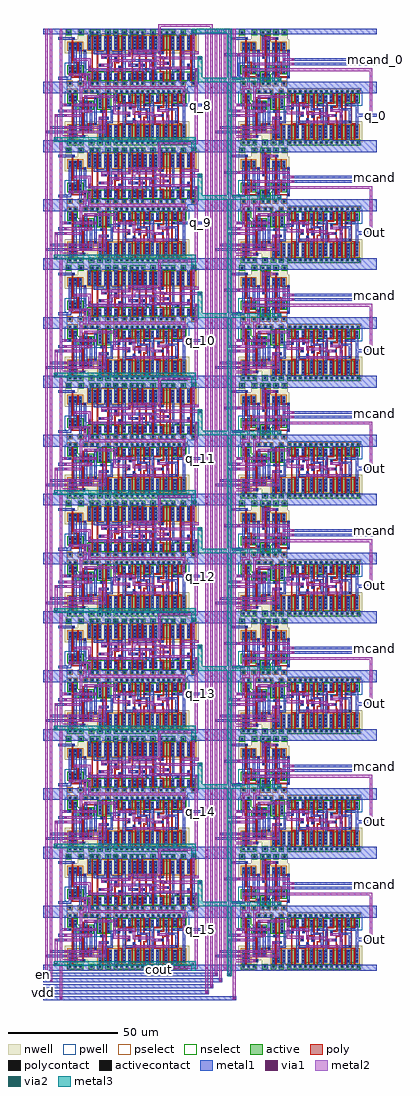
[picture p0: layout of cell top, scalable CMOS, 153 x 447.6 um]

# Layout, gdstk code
import gdstk
lib = gdstk.Library(unit=1e-6, precision=1e-09)
def R(c, l, rs):  # rectangles x0, y0, x1, y1
    for r in rs: c.add(gdstk.rectangle(r[:2], r[2:], *l))
def A(c, l, x, y, w, h, nx, ny, dx, dy):  # array of equal rectangles
    R(c, l, [(x+i*dx, y+j*dy, x+i*dx+w, y+j*dy+h) for i in range(nx) for j in range(ny)])
pwell = (41, 0)
nwell = (42, 0)
active = (43, 0)
pselect = (44, 0)
nselect = (45, 0)
poly = (46, 0)
polycontact = (47, 0)
activecontact = (48, 0)
metal1 = (49, 0)
via1 = (50, 0)
metal2 = (51, 0)
via2 = (61, 0)
metal3 = (62, 0)

c_______fa_magic_fa = lib.new_cell('______fa_magic_fa')
R(c_______fa_magic_fa, pwell, [(2.1,-0.6,51.6,0.9), (0,0.9,52.5,7.5)])
R(c_______fa_magic_fa, nwell, [(0,14.7,52.5,24.3), (2.1,24.3,51.6,25.8)])
A(c_______fa_magic_fa, active, 21.3, 0.3, 1.2, 1.2, 3, 2, 2.4, 23.4)
A(c_______fa_magic_fa, active, 34.5, 0.3, 1.2, 1.2, 3, 2, 2.7, 23.4)
R(c_______fa_magic_fa, active, [(3,0.3,4.2,1.5), (5.4,0.3,6.6,1.5), (10.2,0.3,11.4,1.5), (13.8,0.3,15,1.5), (17.7,0.3,18.9,1.5), (30.9,0.3,32.1,1.5), (44.7,0.3,45.9,1.5), (49.5,0.3,50.7,1.5), (1.8,2.7,7.8,5.7), (9,2.7,12.6,5.7), (13.8,2.7,18.9,5.7), (20.1,2.7,28.5,5.7), (29.7,2.7,33.3,5.7), (34.5,2.7,41.1,5.7), (42.3,2.7,45.9,5.7), (47.1,2.7,50.7,5.7), (1.8,16.5,7.8,22.5), (9,16.5,12.6,22.5), (13.8,16.5,18.9,22.5), (20.1,16.5,28.5,22.5), (29.7,16.5,33.3,22.5), (34.5,16.5,41.1,22.5), (42.3,16.5,45.9,22.5), (47.1,16.5,50.7,22.5), (3,23.7,4.2,24.9), (5.4,23.7,6.6,24.9), (10.2,23.7,11.4,24.9), (13.8,23.7,15,24.9), (17.7,23.7,18.9,24.9), (30.9,23.7,32.1,24.9), (44.7,23.7,45.9,24.9), (49.5,23.7,50.7,24.9)])
R(c_______fa_magic_fa, pselect, [(2.4,-0.3,7.2,2.1), (9.6,-0.3,12,2.1), (13.2,-0.3,15.6,2.1), (17.1,-0.3,19.5,2.1), (20.7,-0.3,27.9,2.1), (30.3,-0.3,32.7,2.1), (33.9,-0.3,41.7,2.1), (44.1,-0.3,46.5,2.1), (48.9,-0.3,51.3,2.1), (1.2,15.9,51.3,23.1)])
R(c_______fa_magic_fa, nselect, [(1.2,2.1,51.3,6.3), (2.4,23.1,7.2,25.5), (9.6,23.1,12,25.5), (13.2,23.1,15.6,25.5), (17.1,23.1,19.5,25.5), (20.7,23.1,27.9,25.5), (30.3,23.1,32.7,25.5), (33.9,23.1,41.7,25.5), (44.1,23.1,46.5,25.5), (48.9,23.1,51.3,25.5)])
R(c_______fa_magic_fa, poly, [(3.3,2.1,3.9,7.8), (5.7,2.1,6.3,8.7), (10.5,2.1,11.1,12.3), (15.3,2.1,15.9,6), (16.8,2.1,17.4,7.8), (21.6,2.1,22.2,14.4), (24,2.1,24.6,6.6), (26.4,2.1,27,6), (31.2,2.1,31.8,10.8), (36,2.1,36.6,6), (37.5,2.1,38.1,7.5), (39,2.1,39.6,9.6), (43.8,2.1,44.4,6.6), (48.6,2.1,49.2,8.7), (13.8,6,15.9,6.6), (26.4,6,28.5,6.6), (34.5,6,36.6,6.6), (13.8,6.6,14.4,10.2), (24,6.6,25.5,7.2), (27.9,6.6,28.5,8.7), (34.5,6.6,35.1,14.4), (42.3,6.6,44.4,7.8), (24.9,7.2,25.5,8.7), (36,7.5,38.1,8.1), (1.8,7.8,3.9,9), (15.6,7.8,17.4,9), (43.8,7.8,44.4,23.1), (36,8.1,36.6,12), (5.7,8.7,7.8,9.9), (23.4,8.7,25.5,9.9), (26.7,8.7,28.5,9.9), (47.1,8.7,49.2,9.9), (3.3,9,3.9,23.1), (16.8,9,17.4,23.1), (37.8,9.6,39.6,10.8), (5.7,9.9,6.3,23.1), (24.9,9.9,25.5,13.8), (27.9,9.9,28.5,15.6), (48.6,9.9,49.2,23.1), (13.8,10.2,15.9,10.8), (15.3,10.8,15.9,12), (29.7,10.8,31.8,12), (39,10.8,39.6,23.1), (13.8,12,15.9,13.2), (31.2,12,31.8,23.1), (36,12,38.1,13.2), (9,12.3,11.1,13.5), (15.3,13.2,15.9,23.1), (37.5,13.2,38.1,23.1), (10.5,13.5,11.1,23.1), (24,13.8,25.5,14.4), (20.1,14.4,22.2,15.6), (24,14.4,24.6,23.1), (34.5,14.4,36.3,15.6), (21.6,15.6,22.2,23.1), (26.4,15.6,28.5,16.2), (34.5,15.6,36.6,16.2), (26.4,16.2,27,23.1), (36,16.2,36.6,23.1)])
R(c_______fa_magic_fa, polycontact, [(42.6,6.9,43.2,7.5), (2.1,8.1,2.7,8.7), (15.9,8.1,16.5,8.7), (6.9,9,7.5,9.6), (23.7,9,24.3,9.6), (27,9,27.6,9.6), (47.4,9,48,9.6), (38.1,9.9,38.7,10.5), (30,11.1,30.6,11.7), (14.1,12.3,14.7,12.9), (36.6,12.3,37.2,12.9), (9.3,12.6,9.9,13.2), (20.4,14.7,21,15.3), (35.4,14.7,36,15.3)])
A(c_______fa_magic_fa, activecontact, 21.6, 0.6, 0.6, 0.6, 3, 2, 2.4, 23.4)
A(c_______fa_magic_fa, activecontact, 34.8, 0.6, 0.6, 0.6, 3, 2, 2.7, 23.4)
A(c_______fa_magic_fa, activecontact, 2.1, 3.15, 0.6, 0.6, 6, 2, 2.4, 1.5)
A(c_______fa_magic_fa, activecontact, 18, 3.15, 0.6, 0.6, 8, 2, 2.4, 1.5)
A(c_______fa_magic_fa, activecontact, 40.2, 3.15, 0.6, 0.6, 5, 2, 2.4, 1.5)
A(c_______fa_magic_fa, activecontact, 2.1, 16.95, 0.6, 0.6, 6, 4, 2.4, 1.5)
A(c_______fa_magic_fa, activecontact, 18, 16.95, 0.6, 0.6, 8, 4, 2.4, 1.5)
A(c_______fa_magic_fa, activecontact, 40.2, 16.95, 0.6, 0.6, 5, 4, 2.4, 1.5)
R(c_______fa_magic_fa, activecontact, [(3.3,0.6,3.9,1.2), (5.7,0.6,6.3,1.2), (10.5,0.6,11.1,1.2), (14.1,0.6,14.7,1.2), (18,0.6,18.6,1.2), (31.2,0.6,31.8,1.2), (45,0.6,45.6,1.2), (49.8,0.6,50.4,1.2), (3.3,24,3.9,24.6), (5.7,24,6.3,24.6), (10.5,24,11.1,24.6), (14.1,24,14.7,24.6), (18,24,18.6,24.6), (31.2,24,31.8,24.6), (45,24,45.6,24.6), (49.8,24,50.4,24.6)])
A(c_______fa_magic_fa, metal1, 17.7, 15.6, 1.2, 6.9, 3, 1, 4.8, 0)
R(c_______fa_magic_fa, metal1, [(0,0,52.5,1.8), (1.8,1.8,3,5.7), (6.6,1.8,7.8,5.7), (13.8,1.8,15,5.7), (20.1,1.8,21.3,5.7), (24.9,1.8,26.1,5.7), (34.5,1.8,35.7,5.7), (42.3,1.8,43.5,5.7), (47.1,1.8,48.3,5.7), (4.2,2.7,5.4,6.6), (9,2.7,10.2,6.6), (11.4,2.7,12.6,14.4), (17.7,2.7,18.9,10.8), (22.5,2.7,23.7,6.6), (27.3,2.7,28.5,6.6), (29.7,2.7,30.9,6.6), (32.1,2.7,33.3,5.7), (39.9,2.7,41.1,5.7), (44.7,2.7,45.9,22.5), (49.5,2.7,50.7,6.6), (32.1,5.7,33,7.8), (40.2,5.7,41.1,6.6), (1.8,6.6,3,9), (4.2,6.6,10.2,7.8), (15.6,6.6,16.8,9), (22.5,6.6,30.9,7.8), (40.2,6.6,43.5,7.8), (49.5,6.6,51.9,7.8), (47.1,7.5,48.3,9.9), (32.1,7.8,41.1,8.7), (49.5,7.8,50.7,22.5), (6.6,8.7,9,9.9), (20.1,8.7,24.6,9.9), (25.5,8.7,27.9,9.9), (29.7,8.7,30.9,10.8), (32.1,8.7,33,16.5), (40.2,8.7,41.1,16.5), (36.6,9.6,39,10.8), (13.8,10.8,15,13.2), (17.7,10.8,30.9,12), (17.7,12,18.9,14.4), (35.1,12,37.5,13.2), (7.8,12.3,10.2,13.5), (20.1,13.2,21.3,15.6), (4.2,14.4,10.2,15.6), (11.4,14.4,18.9,15.6), (22.5,14.4,30.9,15.6), (33.9,14.4,36.3,15.6), (4.2,15.6,5.4,22.5), (9,15.6,10.2,22.5), (11.4,15.6,12.6,22.5), (29.7,15.6,30.9,22.5), (1.8,16.5,3,23.4), (6.6,16.5,7.8,23.4), (13.8,16.5,15,23.4), (20.1,16.5,21.3,23.4), (24.9,16.5,26.1,23.4), (32.1,16.5,33.3,22.5), (34.5,16.5,35.7,23.4), (39.9,16.5,41.1,22.5), (42.3,16.5,43.5,23.4), (47.1,16.5,48.3,23.4), (0,23.4,52.5,25.2)])
R(c_______fa_magic_fa, via1, [(2.1,6.9,2.7,7.5), (15.9,6.9,16.5,7.5), (51,6.9,51.6,7.5), (47.4,7.8,48,8.4), (8.1,9,8.7,9.6), (20.4,9,21,9.6), (25.8,9,26.4,9.6), (30,9,30.6,9.6), (36.9,9.9,37.5,10.5), (14.1,11.1,14.7,11.7), (35.4,12.3,36,12.9), (8.1,12.6,8.7,13.2), (20.4,13.5,21,14.1), (34.2,14.7,34.8,15.3), (45,14.7,45.6,15.3)])
R(c_______fa_magic_fa, metal2, [(50.7,-1.2,51.9,7.8), (1.8,6.6,26.7,7.8), (29.7,7.5,48.3,8.7), (25.5,7.8,26.7,10.8), (7.8,8.7,12.9,9.9), (20.1,8.7,21.3,10.8), (29.7,8.7,30.9,9.9), (33.3,9.6,37.8,10.8), (11.7,9.9,12.9,10.8), (11.7,10.8,23.4,12), (25.5,10.8,34.2,11.7), (22.2,12,23.4,13.2), (35.1,12,36.3,12.6), (7.8,12.3,9,13.2), (32.1,12.6,36.3,13.2), (7.8,13.2,21.3,14.4), (22.2,13.2,36.3,13.5), (22.2,13.5,33,14.4), (20.1,14.4,21.3,15.3), (33.9,14.4,35.1,15.3), (44.7,14.4,52.5,15.6), (20.1,15.3,35.1,16.5), (33.9,16.5,35.1,26.1)])
c_______fa_magic_fa.add(gdstk.Label('vdd', (0.9,24.3), layer=49, texttype=0))
c_______fa_magic_fa.add(gdstk.Label('gnd', (0.9,0.9), layer=49, texttype=0))
c_______fa_magic_fa.add(gdstk.Label('a', (3.6,11.7), layer=46, texttype=0))
c_______fa_magic_fa.add(gdstk.Label('b', (6,11.7), layer=46, texttype=0))
c_______fa_magic_fa.add(gdstk.Label('c_in', (33.6,15.9), layer=51, texttype=0))
c_______fa_magic_fa.add(gdstk.Label('sum', (47.7,15), layer=51, texttype=0))
c_______fa_magic_fa.add(gdstk.Label('c_out', (51.3,6), layer=51, texttype=0))

c_______mux21_magic_mux21 = lib.new_cell('______mux21_magic_mux21')
R(c_______mux21_magic_mux21, pwell, [(-7.8,-11.7,0,-7.2), (-8.7,-7.2,0.9,-0.6)])
R(c_______mux21_magic_mux21, nwell, [(-8.7,3.6,0.9,10.2), (-8.4,10.2,-5.4,14.7), (-2.7,10.2,0.3,14.7)])
R(c_______mux21_magic_mux21, active, [(-6.9,-10.8,-5.7,-9.6), (-2.1,-10.8,-0.9,-9.6), (-6.9,-5.4,-0.9,-2.4), (-6.9,5.4,-0.9,8.4), (-7.5,12.6,-6.3,13.8), (-1.8,12.6,-0.6,13.8)])
R(c_______mux21_magic_mux21, pselect, [(-7.5,-11.4,-5.1,-9), (-2.7,-11.4,-0.3,-9), (-7.5,4.8,-0.3,9)])
R(c_______mux21_magic_mux21, nselect, [(-7.5,-6,-0.3,-1.8), (-8.1,12,-5.7,14.4), (-2.4,12,0,14.4)])
R(c_______mux21_magic_mux21, poly, [(-5.4,-7.5,0,-7.2), (-5.4,-7.2,1.2,-6.9), (-5.4,-6.9,-4.8,-1.8), (-0.6,-6.9,1.2,-6), (-3,-6,-2.4,-0.9), (-5.4,-0.9,-2.4,-0.3), (-5.4,-0.3,-4.8,9.9), (0,4.2,1.2,4.5), (-3,4.5,1.2,5.1), (-3,5.1,-2.4,9), (0,5.1,1.2,5.4), (-5.4,9.9,-4.2,11.1)])
R(c_______mux21_magic_mux21, polycontact, [(0.3,-6.9,0.9,-6.3), (0.3,4.5,0.9,5.1), (-5.1,10.2,-4.5,10.8)])
A(c_______mux21_magic_mux21, activecontact, -6.6, -4.95, 0.6, 0.6, 3, 2, 2.4, 1.5)
A(c_______mux21_magic_mux21, activecontact, -6.6, 5.85, 0.6, 0.6, 3, 2, 2.4, 1.5)
R(c_______mux21_magic_mux21, activecontact, [(-6.6,-10.5,-6,-9.9), (-1.8,-10.5,-1.2,-9.9), (-7.2,12.9,-6.6,13.5), (-1.5,12.9,-0.9,13.5)])
R(c_______mux21_magic_mux21, metal1, [(-9,-11.1,1.2,-9.3), (-9,-8.4,-5.7,-7.2), (-6.9,-7.2,-5.7,8.4), (0,-7.2,1.2,5.4), (-4.5,-5.4,-3.3,8.4), (-2.1,-5.4,-0.9,8.4), (-6.6,9.9,-4.2,11.1), (-9,12.3,1.2,14.1)])
c_______mux21_magic_mux21.add(gdstk.Label('Vdd', (-0.9,12.9), layer=49, texttype=0))
c_______mux21_magic_mux21.add(gdstk.Label('In_0', (-8.4,-7.8), layer=49, texttype=0))
c_______mux21_magic_mux21.add(gdstk.Label('in_1', (-1.5,3.15), layer=49, texttype=0))
c_______mux21_magic_mux21.add(gdstk.Label('Out', (-3.9,2.7), layer=49, texttype=0))
c_______mux21_magic_mux21.add(gdstk.Label('Sel_bar', (0.6,4.8), layer=49, texttype=0))
c_______mux21_magic_mux21.add(gdstk.Label('sel', (-6,10.5), layer=49, texttype=0))

c_______inv_magic_inverter = lib.new_cell('______inv_magic_inverter')
R(c_______inv_magic_inverter, pwell, [(-0.3,-0.9,5.1,0.6), (-1.2,0.6,6,7.2)])
R(c_______inv_magic_inverter, nwell, [(-1.2,14.4,6,24), (-0.3,24,5.1,25.5)])
R(c_______inv_magic_inverter, active, [(0.6,0,1.8,1.2), (3,0,4.2,1.2), (0.6,2.4,4.2,5.4), (0.6,16.2,4.2,22.2), (0.6,23.4,1.8,24.6), (3,23.4,4.2,24.6)])
R(c_______inv_magic_inverter, pselect, [(0,-0.6,4.8,1.8), (0,15.6,4.8,22.8)])
R(c_______inv_magic_inverter, nselect, [(0,1.8,4.8,6), (0,22.8,4.8,25.2)])
R(c_______inv_magic_inverter, poly, [(2.1,1.8,2.7,6.3), (0.6,6.3,2.7,7.5), (2.1,7.5,2.7,22.8)])
R(c_______inv_magic_inverter, polycontact, [(0.9,6.6,1.5,7.2)])
A(c_______inv_magic_inverter, activecontact, 0.9, 16.65, 0.6, 0.6, 1, 4, 0, 1.5)
A(c_______inv_magic_inverter, activecontact, 3.3, 16.65, 0.6, 0.6, 1, 4, 0, 1.5)
R(c_______inv_magic_inverter, activecontact, [(0.9,0.3,1.5,0.9), (3.3,0.3,3.9,0.9), (0.9,2.85,1.5,3.45), (3.3,2.85,3.9,3.45), (0.9,4.35,1.5,4.95), (3.3,4.35,3.9,4.95), (0.9,23.7,1.5,24.3), (3.3,23.7,3.9,24.3)])
R(c_______inv_magic_inverter, metal1, [(-1.2,-0.3,6,1.5), (0.6,1.5,1.8,5.4), (3,2.4,4.2,22.2), (-1.2,6.3,1.8,7.5), (0.6,16.2,1.8,23.1), (-1.2,23.1,6,24.9)])
c_______inv_magic_inverter.add(gdstk.Label('Y', (3.6,7.8), layer=49, texttype=0))
c_______inv_magic_inverter.add(gdstk.Label('A', (-0.6,6.6), layer=49, texttype=0))
c_______inv_magic_inverter.add(gdstk.Label('vdd', (0,24), layer=49, texttype=0))
c_______inv_magic_inverter.add(gdstk.Label('gnd', (0,0.6), layer=49, texttype=0))

c_______bc1a_magic_bc1a = lib.new_cell('______bc1a_magic_bc1a')
R(c_______bc1a_magic_bc1a, pwell, [(7.5,11.1,17.1,17.7), (9.9,17.7,16.8,20.7), (9,20.7,16.8,22.2), (3.6,22.2,11.4,22.8)])
R(c_______bc1a_magic_bc1a, nwell, [(8.4,-4.2,11.4,0.3), (13.5,-4.2,16.5,0.3), (7.5,0.3,17.1,6.9)])
R(c_______bc1a_magic_bc1a, active, [(9.3,-3.3,10.5,-2.1), (14.4,-3.3,15.6,-2.1), (9.3,2.1,15.3,5.1), (9.3,12.9,15.3,15.9), (11.7,20.1,12.9,21.3), (14.7,20.1,15.9,21.3)])
R(c_______bc1a_magic_bc1a, pselect, [(8.7,1.5,15.9,5.7), (11.1,19.5,13.5,21.9), (14.1,19.5,16.5,21.9)])
R(c_______bc1a_magic_bc1a, nselect, [(8.7,-3.9,11.1,-1.5), (13.8,-3.9,16.2,-1.5), (8.7,12.3,15.9,16.5)])
R(c_______bc1a_magic_bc1a, poly, [(10.8,-0.6,12,0.6), (10.8,0.6,11.4,10.8), (13.2,1.5,13.8,5.4), (16.2,5.1,17.4,5.4), (13.2,5.4,17.4,6), (16.2,6,17.4,6.3), (10.8,10.8,13.8,11.4), (13.2,11.4,13.8,16.5), (10.8,12.3,11.4,17.4), (16.2,17.1,17.4,17.4), (10.8,17.4,17.4,18), (16.2,18,17.4,18.3)])
R(c_______bc1a_magic_bc1a, polycontact, [(11.1,-0.3,11.7,0.3), (16.5,5.4,17.1,6), (16.5,17.4,17.1,18)])
A(c_______bc1a_magic_bc1a, activecontact, 9.6, 2.55, 0.6, 0.6, 3, 2, 2.4, 1.5)
A(c_______bc1a_magic_bc1a, activecontact, 9.6, 13.35, 0.6, 0.6, 3, 2, 2.4, 1.5)
R(c_______bc1a_magic_bc1a, activecontact, [(9.6,-3,10.2,-2.4), (14.7,-3,15.3,-2.4), (12,20.4,12.6,21), (15,20.4,15.6,21)])
R(c_______bc1a_magic_bc1a, metal1, [(-0.3,-3.6,2.7,-1.8), (9,-3.6,19.2,-2.1), (9,-2.1,17.4,-1.8), (9.6,-0.6,12,0.6), (9.3,2.1,10.5,15.9), (11.7,2.1,12.9,18.9), (14.1,2.1,15.3,15.9), (16.2,5.1,17.4,18.3), (6.9,7.8,8.1,9), (-0.3,9,3.6,10.2), (-0.3,11.1,3.6,12.3), (2.4,13.8,3.6,15), (6.9,13.8,8.1,15), (-0.3,19.8,2.7,21.3), (9,19.8,17.4,21.3), (-0.3,21.3,17.4,21.6), (-0.3,21.6,19.2,23.4), (-0.3,23.4,9,23.7), (9.9,23.4,19.2,24), (-0.3,23.7,8.4,24.9), (12.6,24,18.3,25.2), (-0.3,24.9,9,25.2), (-0.3,26.1,3.6,27.3), (11.4,26.1,12.6,27.3), (11.4,27.9,12.6,29.1), (6.9,35.4,8.1,36.6), (-0.3,44.4,6,45.6), (-0.3,46.8,9,48.6), (13.8,46.8,18.3,48.6)])
R(c_______bc1a_magic_bc1a, via1, [(9.9,-0.3,10.5,0.3), (2.7,9.3,3.3,9.9), (9.6,9.3,10.2,9.9), (2.7,11.4,3.3,12), (14.4,11.4,15,12), (2.7,14.1,3.3,14.7), (7.2,14.1,7.8,14.7), (16.5,14.1,17.1,14.7), (12,18,12.6,18.6), (11.7,26.4,12.3,27), (0.6,44.7,1.2,45.3)])
R(c_______bc1a_magic_bc1a, metal2, [(0.3,-0.6,10.8,0.6), (0.3,0.6,1.5,13.8), (9,1.5,18.6,2.7), (9,3.6,18.6,4.8), (2.4,9,10.5,10.2), (2.4,11.1,15.3,12.3), (0.3,13.8,3.6,15), (6.9,13.8,17.4,15), (0.3,15,1.5,45.6), (9.6,15,10.8,21.9), (11.7,17.7,17.4,18.9), (9.6,21.9,12.6,23.1), (11.4,23.1,12.6,27.3)])
c_______bc1a_magic_bc1a.add(gdstk.Reference(c_______mux21_magic_mux21, (11.4,34.5)))
c_______bc1a_magic_bc1a.add(gdstk.Reference(c_______inv_magic_inverter, (3.9,21.3), x_reflection=True))
c_______bc1a_magic_bc1a.add(gdstk.Label('a_in', (4.2,9.6), layer=51, texttype=0))
c_______bc1a_magic_bc1a.add(gdstk.Label('b_in', (4.2,11.7), layer=51, texttype=0))
c_______bc1a_magic_bc1a.add(gdstk.Label('gnd', (2.4,22.5), layer=49, texttype=0))
c_______bc1a_magic_bc1a.add(gdstk.Label('reg_in', (2.1,26.7), layer=49, texttype=0))

c_______nand_magic_nand = lib.new_cell('______nand_magic_nand')
R(c_______nand_magic_nand, pwell, [(-1.5,-1.5,6.3,0), (-1.5,0,7.5,1.5), (-1.2,1.5,7.5,9.6)])
R(c_______nand_magic_nand, nwell, [(-1.2,13.8,8.4,23.4), (-0.3,23.4,6.3,24.9)])
R(c_______nand_magic_nand, active, [(-0.6,-0.6,0.6,0.6), (4.2,-0.6,5.4,0.6), (0.6,1.8,5.7,7.8), (0.6,15.6,6.6,21.6), (0.6,22.8,1.8,24), (4.2,22.8,5.4,24)])
R(c_______nand_magic_nand, pselect, [(-1.2,-1.2,1.2,1.2), (3.6,-1.2,6,1.2), (0,15,7.2,22.2)])
R(c_______nand_magic_nand, nselect, [(0,1.2,6.3,8.4), (0,22.2,2.4,24.6), (3.6,22.2,6,24.6)])
R(c_______nand_magic_nand, poly, [(2.1,1.2,2.7,8.7), (3.6,1.2,4.2,11.7), (1.2,8.7,2.7,9.9), (2.1,9.9,2.7,22.2), (3.6,11.7,5.1,12.9), (3.6,12.9,4.2,14.7), (3.6,14.7,5.1,15.3), (4.5,15.3,5.1,22.2)])
R(c_______nand_magic_nand, polycontact, [(1.5,9,2.1,9.6), (4.2,12,4.8,12.6)])
A(c_______nand_magic_nand, activecontact, 0.9, 2.25, 0.6, 0.6, 1, 4, 0, 1.5)
A(c_______nand_magic_nand, activecontact, 4.8, 2.25, 0.6, 0.6, 1, 4, 0, 1.5)
A(c_______nand_magic_nand, activecontact, 0.9, 16.05, 0.6, 0.6, 3, 4, 2.4, 1.5)
R(c_______nand_magic_nand, activecontact, [(-0.3,-0.3,0.3,0.3), (4.5,-0.3,5.1,0.3), (0.9,23.1,1.5,23.7), (4.5,23.1,5.1,23.7)])
R(c_______nand_magic_nand, metal1, [(-1.2,-0.9,8.4,0.9), (0.6,0.9,1.8,7.8), (4.5,1.8,5.7,6.9), (4.5,6.9,6.9,7.8), (6,7.8,6.9,13.8), (1.2,8.7,2.4,9.9), (0.6,11.7,5.1,12.9), (3.3,13.8,6.9,14.7), (3.3,14.7,4.2,15.6), (0.6,15.6,1.8,22.5), (3,15.6,4.2,21.6), (5.4,15.6,6.6,22.5), (-1.2,22.5,8.4,23.7), (-0.3,23.7,8.4,24.3)])
c_______nand_magic_nand.add(gdstk.Label('gnd', (3,0), layer=49, texttype=0))
c_______nand_magic_nand.add(gdstk.Label('vdd', (3,23.4), layer=49, texttype=0))
c_______nand_magic_nand.add(gdstk.Label('A', (2.4,8.4), layer=46, texttype=0))
c_______nand_magic_nand.add(gdstk.Label('B', (3.9,8.4), layer=46, texttype=0))

c_______dffpos_magic_dffpo = lib.new_cell('______dffpos_magic_dffpos')
R(c_______dffpos_magic_dffpo, pwell, [(6.6,17.7,42.6,24.3), (7.8,24.3,42,25.8)])
R(c_______dffpos_magic_dffpo, nwell, [(7.8,-0.6,42,0.9), (6.6,0.9,42.6,10.5)])
A(c_______dffpos_magic_dffpo, active, 8.7, 0.3, 1.2, 1.2, 14, 2, 2.4, 23.4)
R(c_______dffpos_magic_dffpo, active, [(8.4,2.7,13.5,8.7), (14.7,2.7,26.4,8.7), (27.6,2.7,40.8,8.7), (8.4,19.5,13.5,22.5), (14.7,19.5,26.4,22.5), (27.6,19.5,40.8,22.5)])
R(c_______dffpos_magic_dffpo, pselect, [(7.8,2.1,41.4,9.3), (8.1,23.1,41.7,25.5)])
R(c_______dffpos_magic_dffpo, nselect, [(8.1,-0.3,41.7,2.1), (7.8,18.9,41.4,23.1)])
R(c_______dffpos_magic_dffpo, poly, [(9.9,2.1,10.5,9), (11.4,2.1,12,9), (16.2,2.1,16.8,9), (17.7,2.1,18.3,10.5), (20.1,2.1,20.7,12.3), (21.6,2.1,22.2,12), (24.3,2.1,24.9,9.6), (29.1,2.1,29.7,9), (30.6,2.1,31.2,10.5), (33,2.1,33.6,12.3), (34.5,2.1,35.1,17.4), (37.2,2.1,37.8,9), (38.7,2.1,39.3,9), (9.9,9,12,9.6), (13.2,9,16.8,9.6), (26.7,9,29.7,9.6), (37.2,9,39.3,9.6), (9.9,9.6,10.5,16.2), (13.2,9.6,13.8,12.6), (23.4,9.6,24.9,10.8), (26.7,9.6,27.3,12.6), (36.3,9.6,37.8,10.8), (17.4,10.5,18.3,10.8), (30.3,10.5,31.2,11.1), (16.8,10.8,18.3,11.1), (24.3,10.8,24.9,23.1), (37.2,10.8,37.8,18.6), (16.8,11.1,18,12), (30.3,11.1,30.9,12.6), (17.4,12,18,14.7), (21.6,12,23.4,12.6), (19.2,12.3,20.7,13.5), (32.1,12.3,33.6,13.5), (13.2,12.6,15.6,13.8), (22.8,12.6,23.4,15.6), (26.1,12.6,27.3,13.8), (29.7,12.6,30.9,13.8), (13.2,13.8,13.8,18.6), (26.1,13.8,26.7,18.6), (30.3,13.8,30.9,14.7), (17.4,14.7,20.7,15.3), (30.3,14.7,33.6,15.3), (20.1,15.3,20.7,23.1), (33,15.3,33.6,23.1), (21.6,15.6,23.4,16.2), (9.9,16.2,11.1,17.4), (15,16.2,16.2,16.8), (21.6,16.2,22.2,17.4), (27.9,16.2,29.1,16.8), (15,16.8,18.3,17.4), (27.9,16.8,31.2,17.4), (9.9,17.4,10.5,18.6), (17.7,17.4,18.3,23.1), (21.6,17.4,23.1,18.6), (30.6,17.4,31.2,23.1), (34.5,17.4,36,18.6), (9.9,18.6,12,19.2), (13.2,18.6,16.8,19.2), (21.6,18.6,22.2,23.1), (26.1,18.6,29.7,19.2), (34.5,18.6,35.1,23.1), (37.2,18.6,39.3,19.2), (9.9,19.2,10.5,23.1), (11.4,19.2,12,23.1), (16.2,19.2,16.8,23.1), (29.1,19.2,29.7,23.1), (37.2,19.2,37.8,23.1), (38.7,19.2,39.3,23.1)])
R(c_______dffpos_magic_dffpo, polycontact, [(23.7,9.9,24.3,10.5), (36.6,9.9,37.2,10.5), (17.1,11.1,17.7,11.7), (19.5,12.6,20.1,13.2), (32.4,12.6,33,13.2), (14.7,12.9,15.3,13.5), (26.4,12.9,27,13.5), (30,12.9,30.6,13.5), (10.2,16.5,10.8,17.1), (15.3,16.5,15.9,17.1), (28.2,16.5,28.8,17.1), (22.2,17.7,22.8,18.3), (35.1,17.7,35.7,18.3)])
A(c_______dffpos_magic_dffpo, activecontact, 9, 0.6, 0.6, 0.6, 14, 2, 2.4, 23.4)
A(c_______dffpos_magic_dffpo, activecontact, 8.7, 3.15, 0.6, 0.6, 1, 4, 0, 1.5)
A(c_______dffpos_magic_dffpo, activecontact, 12.6, 3.15, 0.6, 0.6, 1, 4, 0, 1.5)
A(c_______dffpos_magic_dffpo, activecontact, 15, 3.15, 0.6, 0.6, 1, 4, 0, 1.5)
A(c_______dffpos_magic_dffpo, activecontact, 18.9, 3.15, 0.6, 0.6, 1, 4, 0, 1.5)
A(c_______dffpos_magic_dffpo, activecontact, 22.95, 3.15, 0.6, 0.6, 1, 4, 0, 1.5)
A(c_______dffpos_magic_dffpo, activecontact, 25.5, 3.15, 0.6, 0.6, 1, 4, 0, 1.5)
A(c_______dffpos_magic_dffpo, activecontact, 27.9, 3.15, 0.6, 0.6, 1, 4, 0, 1.5)
A(c_______dffpos_magic_dffpo, activecontact, 31.8, 3.15, 0.6, 0.6, 3, 4, 4.05, 1.5)
A(c_______dffpos_magic_dffpo, activecontact, 31.8, 19.95, 0.6, 0.6, 3, 2, 4.05, 1.5)
R(c_______dffpos_magic_dffpo, activecontact, [(8.7,19.95,9.3,20.55), (12.6,19.95,13.2,20.55), (15,19.95,15.6,20.55), (18.9,19.95,19.5,20.55), (22.95,19.95,23.55,20.55), (25.5,19.95,26.1,20.55), (27.9,19.95,28.5,20.55), (8.7,21.45,9.3,22.05), (12.6,21.45,13.2,22.05), (15,21.45,15.6,22.05), (18.9,21.45,19.5,22.05), (22.95,21.45,23.55,22.05), (25.5,21.45,26.1,22.05), (27.9,21.45,28.5,22.05)])
R(c_______dffpos_magic_dffpo, metal1, [(5.4,0,41.7,1.8), (8.4,1.8,9.6,8.7), (14.7,1.8,15.9,8.7), (22.5,1.8,24,8.7), (27.6,1.8,28.8,8.7), (35.4,1.8,36.9,8.7), (12.3,2.7,13.5,9.6), (18.6,2.7,19.8,8.7), (25.2,2.7,26.4,8.7), (31.5,2.7,32.7,8.7), (39.6,2.7,40.8,17.4), (18.9,8.7,19.8,9.6), (25.5,8.7,26.4,12.6), (31.8,8.7,32.7,9.6), (6.6,9.6,7.5,16.2), (12.3,9.6,18,10.8), (18.9,9.6,24.6,10.8), (31.8,9.6,37.5,10.8), (12.3,10.8,13.5,22.5), (16.8,10.8,18,12), (23.4,10.8,24.6,15.6), (36.3,10.8,37.5,15.6), (19.2,12.3,20.4,14.7), (32.1,12.3,33.3,14.7), (14.4,12.6,15.6,15), (25.5,12.6,27.3,13.8), (28.5,12.6,30.9,13.8), (25.5,13.8,26.4,17.4), (27.9,15,29.1,17.4), (18.9,15.6,24.6,16.5), (31.8,15.6,37.5,16.5), (6.6,16.2,11.1,17.4), (15,16.2,16.2,18.6), (18.9,16.5,19.8,19.5), (31.8,16.5,32.7,19.5), (9.9,17.4,11.1,18.6), (21.9,17.4,26.4,18.6), (34.8,17.4,40.8,18.6), (25.2,18.6,26.4,22.5), (39.6,18.6,40.8,22.5), (8.4,19.5,9.6,23.4), (14.7,19.5,15.9,23.4), (18.6,19.5,19.8,22.5), (22.5,19.5,24,23.4), (27.6,19.5,28.8,23.4), (31.5,19.5,32.7,22.5), (35.4,19.5,36.9,23.4), (5.4,23.4,41.7,25.2)])
R(c_______dffpos_magic_dffpo, via1, [(17.1,9.9,17.7,10.5), (28.8,12.9,29.4,13.5), (19.5,13.8,20.1,14.4), (32.4,13.8,33,14.4), (14.7,14.1,15.3,14.7), (28.2,15.3,28.8,15.9), (10.2,17.7,10.8,18.3), (15.3,17.7,15.9,18.3)])
R(c_______dffpos_magic_dffpo, metal2, [(16.8,9.6,33.3,10.8), (32.1,10.8,33.3,15), (25.2,12.6,29.7,13.5), (16.8,13.5,29.7,13.8), (7.8,13.8,15.6,15), (16.8,13.8,26.4,14.7), (16.8,14.7,18,17.4), (7.8,15,9,21.3), (27.9,15,33.3,16.2), (9.9,17.4,18,18.6), (6.6,21.3,9,22.5)])
c_______dffpos_magic_dffpo.add(gdstk.Label('D', (7.2,21.9), layer=51, texttype=0))
c_______dffpos_magic_dffpo.add(gdstk.Label('clk_b', (6.9,13.5), layer=49, texttype=0))
c_______dffpos_magic_dffpo.add(gdstk.Label('clk', (12.9,13.5), layer=49, texttype=0))
c_______dffpos_magic_dffpo.add(gdstk.Label('Q', (40.5,13.5), layer=49, texttype=0))

bs1 = lib.new_cell('bs1')
R(bs1, pwell, [(24,24.3,24.9,25.8), (13.8,25.8,59.1,26.4), (11.4,27.9,11.7,30.9)])
R(bs1, nwell, [(16.5,-0.6,17.4,0.9), (24,-0.6,24.9,0.9)])
R(bs1, metal1, [(-7.2,-0.9,65.7,0.3), (-7.2,0.3,26.1,1.8), (27.9,0.3,65.7,1.8), (-6.3,5.1,3.6,6.3), (-4.2,7.2,3.6,8.4), (18.3,11.4,19.5,12.6), (20.1,11.4,21.3,12.6), (-1.8,12.6,-0.3,13.8), (19.8,14.4,21.6,15.6), (0.3,15.9,1.5,23.4), (25.8,16.2,26.1,17.4), (56.7,17.4,65.7,18.6), (-7.2,23.4,-0.3,28.8), (19.2,23.4,26.1,24.9), (27.9,23.4,65.7,24.9), (19.2,24.9,65.7,28.8), (9.3,28.8,10.5,32.7), (4.5,31.5,5.7,32.7), (6.9,38.4,8.1,39.6), (-7.2,50.4,-0.3,52.2), (19.2,50.4,20.7,52.2), (63.9,50.4,65.7,52.2), (-7.2,52.2,65.7,53.1)])
R(bs1, via1, [(-6,5.4,-5.4,6), (2.7,5.4,3.3,6), (-3.9,7.5,-3.3,8.1), (2.7,7.5,3.3,8.1), (18.6,11.7,19.2,12.3), (-1.5,12.9,-0.9,13.5), (20.7,14.7,21.3,15.3), (57,17.7,57.6,18.3), (4.8,31.8,5.4,32.4), (7.2,38.7,7.8,39.3)])
R(bs1, metal2, [(-6.3,-0.9,-5.1,53.1), (-4.2,-0.9,-3,53.1), (0.3,-0.9,1.5,3), (45.6,-0.9,46.8,0), (45.6,0,63.6,1.2), (62.4,1.2,63.6,25.8), (-2.1,1.5,-0.6,3), (-1.8,3,-0.6,13.8), (2.4,5.1,16.8,6.3), (18.6,5.1,21.6,6.3), (20.4,6.3,21.6,15.6), (2.4,7.2,16.8,8.4), (18.3,7.2,19.5,12.6), (56.7,17.4,57.9,25.5), (17.4,21.3,26.1,22.5), (13.5,25.5,57.9,26.7), (13.5,26.7,14.7,31.8), (4.5,31.5,10.5,31.8), (4.5,31.8,14.7,32.7), (13.5,34.8,14.7,38.4), (19.5,35.7,20.7,36.9), (6.9,38.4,14.7,39.6), (63.9,38.7,65.4,39), (48,39,65.4,40.2), (61.2,42.6,62.4,51.3), (0.3,49.2,1.5,53.1), (60.9,51.3,62.4,52.8), (45.6,51.9,46.8,53.1)])
R(bs1, via2, [(-1.65,1.95,-1.05,2.55), (64.35,39.15,64.95,39.75), (61.35,51.75,61.95,52.35)])
R(bs1, metal3, [(60.6,-0.9,62.7,1.2), (-2.4,1.2,62.7,3.3), (63.6,28.5,65.7,40.5), (60.6,51,62.7,53.1)])
bs1.add(gdstk.Reference(c_______fa_magic_fa, (11.7,27)))
bs1.add(gdstk.Reference(c_______bc1a_magic_bc1a, (0,3.6)))
bs1.add(gdstk.Reference(c_______nand_magic_nand, (17.7,24.3), x_reflection=True))
bs1.add(gdstk.Reference(c_______dffpos_magic_dffpo, (17.1,0)))
bs1.add(gdstk.Label('Cin', (46.2,52.5), layer=51, texttype=0))
bs1.add(gdstk.Label('Cout', (46.2,-0.6), layer=51, texttype=0))
bs1.add(gdstk.Label('Init', (0.9,0), layer=51, texttype=0))
bs1.add(gdstk.Label('fa_in', (65.1,29.4), layer=62, texttype=0))
bs1.add(gdstk.Label('clk', (-3.6,-0.3), layer=51, texttype=0))
bs1.add(gdstk.Label('en', (-6,-0.3), layer=51, texttype=0))
bs1.add(gdstk.Label('gnd', (-6.6,26.1), layer=49, texttype=0))
bs1.add(gdstk.Label('vdd', (-6.6,51.9), layer=49, texttype=0))
bs1.add(gdstk.Label('vdd', (-6.6,0.3), layer=49, texttype=0))
bs1.add(gdstk.Label('Out', (65.1,18), layer=49, texttype=0))
bs1.add(gdstk.Label('muxA_in', (61.5,0), layer=62, texttype=0))
bs1.add(gdstk.Label('add_out', (61.5,52.5), layer=62, texttype=0))

bs2 = lib.new_cell('bs2')
R(bs2, pwell, [(24,24.3,24.9,25.8), (11.4,25.8,25.2,30.9), (11.7,30.9,26.1,34.5), (16.5,34.5,26.1,37.5)])
R(bs2, nwell, [(16.5,-0.6,17.4,0.9), (24,-0.6,24.9,0.9), (11.7,41.7,26.1,48.3), (11.7,48.3,25.5,52.8)])
R(bs2, active, [(13.5,27.3,14.7,28.5), (15.9,27.3,17.1,28.5), (19.2,27.3,20.4,28.5), (23.1,27.3,24.3,28.5), (13.5,29.7,17.1,32.7), (18.3,32.7,24.3,35.7), (13.5,43.5,17.1,49.5), (18.3,43.5,24.3,46.5), (13.5,50.7,14.7,51.9), (15.9,50.7,17.1,51.9), (19.5,50.7,20.7,51.9), (23.4,50.7,24.6,51.9)])
R(bs2, pselect, [(12.9,26.7,17.7,29.1), (18.6,26.7,21,29.1), (22.5,26.7,24.9,29.1), (12.9,42.9,24.9,47.1), (12.9,47.1,17.7,50.1)])
R(bs2, nselect, [(12.9,29.1,17.7,32.1), (12.9,32.1,24.9,33.3), (17.7,33.3,24.9,36.3), (12.9,50.1,17.7,52.5), (18.9,50.1,21.3,52.5), (22.8,50.1,25.2,52.5)])
R(bs2, poly, [(15,29.1,15.6,39.3), (25.2,30.3,26.4,30.6), (19.8,30.6,26.4,31.2), (19.8,31.2,20.4,36.3), (25.2,31.2,26.4,31.5), (22.2,32.1,22.8,37.2), (19.8,37.2,22.8,37.8), (19.8,37.8,20.4,48), (13.8,39.3,15.6,40.5), (15,40.5,15.6,50.1), (25.2,42.3,26.4,42.6), (22.2,42.6,26.4,43.2), (22.2,43.2,22.8,47.1), (25.2,43.2,26.4,43.5), (19.8,48,21,49.2)])
R(bs2, polycontact, [(25.5,30.6,26.1,31.2), (14.1,39.6,14.7,40.2), (25.5,42.6,26.1,43.2), (20.1,48.3,20.7,48.9)])
A(bs2, activecontact, 18.6, 33.15, 0.6, 0.6, 3, 2, 2.4, 1.5)
A(bs2, activecontact, 13.8, 43.95, 0.6, 0.6, 5, 2, 2.4, 1.5)
R(bs2, activecontact, [(13.8,27.6,14.4,28.2), (16.2,27.6,16.8,28.2), (19.5,27.6,20.1,28.2), (23.4,27.6,24,28.2), (13.8,30.15,14.4,30.75), (16.2,30.15,16.8,30.75), (13.8,31.65,14.4,32.25), (16.2,31.65,16.8,32.25), (13.8,46.95,14.4,47.55), (16.2,46.95,16.8,47.55), (13.8,48.45,14.4,49.05), (16.2,48.45,16.8,49.05), (13.8,51,14.4,51.6), (16.2,51,16.8,51.6), (19.8,51,20.4,51.6), (23.7,51,24.3,51.6)])
R(bs2, metal1, [(-13.8,-0.9,66.3,0.3), (-13.8,0.3,26.1,1.8), (27.9,0.3,66.3,1.8), (-8.1,5.1,3.6,6.3), (-6,7.2,3.6,8.4), (18.3,11.4,19.5,12.6), (20.1,11.4,21.3,12.6), (-1.8,12.6,-0.3,13.8), (57.9,12.6,66.3,14.1), (19.8,14.4,21.6,15.6), (-1.8,14.7,-0.3,15.9), (25.8,16.2,26.1,17.4), (-13.8,23.4,-0.3,28.8), (19.2,23.4,26.1,24.9), (27.9,23.4,66.3,24.9), (19.2,24.9,66.3,26.7), (15.6,26.7,66.3,27.3), (13.2,27.3,66.3,28.8), (13.5,28.8,14.7,32.7), (18.3,28.8,19.5,46.5), (4.5,29.7,5.7,30.9), (15.9,29.7,17.1,49.5), (25.2,30.3,26.4,43.5), (6.9,31.5,8.1,32.7), (20.7,31.5,21.9,46.5), (23.1,32.7,24.3,46.5), (9.3,36.3,10.5,37.5), (27.3,36.3,66.3,37.5), (6.9,38.4,8.1,39.6), (27.3,38.4,66.3,39.6), (13.8,39.3,15,41.7), (-3.9,40.5,3.6,41.7), (13.5,43.5,14.7,50.4), (18.6,48,21,49.2), (-13.8,50.4,-0.3,52.2), (12.3,50.4,66.3,52.2), (-13.8,52.2,66.3,53.1)])
R(bs2, via1, [(-12,0,-11.4,0.6), (-7.8,5.4,-7.2,6), (2.7,5.4,3.3,6), (-5.7,7.5,-5.1,8.1), (2.7,7.5,3.3,8.1), (18.6,11.7,19.2,12.3), (-1.5,12.9,-0.9,13.5), (63.3,13.05,63.9,13.65), (20.7,14.7,21.3,15.3), (-1.5,15,-0.9,15.6), (-9.9,25.8,-9.3,26.4), (4.8,30,5.4,30.6), (7.2,31.8,7.8,32.4), (21,31.8,21.6,32.4), (9.6,36.6,10.2,37.2), (27.6,36.6,28.2,37.2), (23.4,38.7,24,39.3), (27.6,38.7,28.2,39.3), (-3.6,40.8,-3,41.4), (2.7,40.8,3.3,41.4), (14.1,40.8,14.7,41.4), (16.2,40.8,16.8,41.4), (25.5,40.8,26.1,41.4), (18.9,48.3,19.5,48.9), (-12,51,-11.4,51.6)])
A(bs2, metal2, -12.3, -0.9, 1.2, 54, 5, 1, 2.1, 0)
R(bs2, metal2, [(-1.8,-0.9,-0.6,13.8), (0.3,-0.9,1.5,3), (2.4,5.1,16.8,6.3), (18.6,5.1,21.6,6.3), (20.4,6.3,21.6,15.6), (2.4,7.2,16.8,8.4), (18.3,7.2,19.5,12.6), (63,12.6,64.2,33.6), (-1.8,14.7,-0.6,53.1), (4.5,15.6,5.7,25.5), (17.4,21.3,26.1,22.5), (4.5,25.5,8.1,26.7), (6.9,26.7,8.1,32.7), (20.7,28.8,22.2,30.3), (4.5,29.7,5.7,33.6), (20.7,30.3,21.9,32.7), (4.5,33.6,64.2,34.8), (9.3,36.3,28.5,37.5), (23.1,38.4,28.5,39.6), (2.4,40.5,15,41.7), (15.9,40.5,26.4,41.7), (13.8,41.7,15,48), (13.8,48,19.8,49.2), (0.3,49.2,1.5,53.1)])
R(bs2, via2, [(21.15,29.25,21.75,29.85)])
R(bs2, metal3, [(-13.8,28.5,22.5,30.6)])
bs2.add(gdstk.Reference(c_______bc1a_magic_bc1a, (0,3.6)))
bs2.add(gdstk.Reference(c_______nand_magic_nand, (17.7,24.3), x_reflection=True))
bs2.add(gdstk.Reference(c_______dffpos_magic_dffpo, (17.1,0)))
bs2.add(gdstk.Label('Out', (65.4,13.5), layer=49, texttype=0))
bs2.add(gdstk.Label('muxB_in', (5.1,16.2), layer=51, texttype=0))
bs2.add(gdstk.Label('q0', (-3.3,51.9), layer=51, texttype=0))
bs2.add(gdstk.Label('vdd', (-11.7,1.5), layer=51, texttype=0))
bs2.add(gdstk.Label('gnd', (-9.6,0.3), layer=51, texttype=0))
bs2.add(gdstk.Label('en', (-7.5,0), layer=51, texttype=0))
bs2.add(gdstk.Label('clk', (-5.4,0), layer=51, texttype=0))
bs2.add(gdstk.Label('Init', (0.9,-0.3), layer=51, texttype=0))
bs2.add(gdstk.Label('muxA_out', (-12.9,29.7), layer=62, texttype=0))
bs2.add(gdstk.Label('mplier', (65.4,36.9), layer=49, texttype=0))
bs2.add(gdstk.Label('mcand', (65.4,38.7), layer=49, texttype=0))
bs2.add(gdstk.Label('muxA_in', (-1.2,-0.3), layer=51, texttype=0))
bs2.add(gdstk.Label('muxB_out', (-1.2,51.6), layer=51, texttype=0))

top = lib.new_cell('top')
A(top, nwell, 10.8, 53.7, 2.4, 0.6, 1, 7, 0, 54)
A(top, nwell, 15.9, 53.7, 2.7, 0.6, 1, 7, 0, 54)
A(top, nwell, 21, 53.7, 45.3, 0.6, 1, 7, 0, 54)
A(top, nwell, 90.3, 53.7, 2.4, 0.6, 1, 7, 0, 54)
A(top, nwell, 95.4, 53.7, 2.7, 0.6, 1, 7, 0, 54)
A(top, nwell, 100.2, 53.7, 12, 0.6, 1, 7, 0, 54)
A(top, metal1, 151.8, 13.5, 1.2, 1.5, 1, 8, 0, 54)
A(top, metal1, 71.7, 18.3, 1.2, 1.2, 1, 8, 0, 54)
A(top, metal1, 151.8, 24.3, 1.2, 5.4, 1, 7, 0, 54)
R(top, metal1, [(0,-13.5,88.5,-11.7), (0,-10.8,75.9,-9), (0,-8.1,78,-6.3), (0,-5.4,82.2,-3.6), (0,-2.7,80.1,-0.9), (151.8,37.2,153,38.4), (151.8,39.3,153,40.5), (151.8,91.2,153,92.4), (151.8,93.3,153,94.5), (151.8,145.2,153,146.4), (151.8,147.3,153,148.5), (151.8,199.2,153,200.4), (151.8,201.3,153,202.5), (151.8,253.2,153,254.4), (151.8,255.3,153,256.5), (151.8,307.2,153,308.4), (151.8,309.3,153,310.5), (151.8,361.2,153,362.4), (151.8,363.3,153,364.5), (89.1,409.8,90.3,419.4), (151.8,415.2,153,416.4), (151.8,417.3,153,418.5)])
R(top, via1, [(7.8,-12.9,8.4,-12.3), (87.3,-12.9,87.9,-12.3), (74.7,-10.2,75.3,-9.6), (76.8,-7.5,77.4,-6.9), (3.3,-4.8,3.9,-4.2), (81,-4.8,81.6,-4.2), (1.2,-2.1,1.8,-1.5), (78.9,-2.1,79.5,-1.5)])
R(top, metal2, [(7.5,-13.2,8.7,0.6), (87,-13.2,88.2,0.6), (74.4,-10.5,75.6,0.6), (76.5,-7.8,77.7,0.6), (3,-5.1,4.2,0.6), (80.7,-5.1,81.9,0.6), (0.9,-2.4,2.1,0.6), (78.6,-2.4,79.8,0.6), (84.6,-2.4,86.1,-0.9), (84.9,-0.9,86.1,0), (52.8,0,54,0.9), (68.1,2.1,69.6,3.6), (52.8,432,54,432.9), (76.5,432,77.7,432.9), (52.8,432.9,77.7,434.1)])
R(top, via2, [(85.05,-1.95,85.65,-1.35), (68.55,2.55,69.15,3.15)])
R(top, metal3, [(84.3,-2.7,86.4,429.9), (68.1,2.1,69.6,3.6), (69.9,429.9,86.4,432)])
r = gdstk.Reference(bs1, (7.2,0.9)); r.repetition = gdstk.Repetition(1, 8, v1=(73.5,0), v2=(0,54)); top.add(r)
r = gdstk.Reference(bs2, (86.7,0.9)); r.repetition = gdstk.Repetition(1, 8, v1=(77.1,0), v2=(0,54)); top.add(r)
top.add(gdstk.Label('en', (0.3,-1.8), layer=49, texttype=0))
top.add(gdstk.Label('clk', (0.3,-4.5), layer=49, texttype=0))
top.add(gdstk.Label('cout', (53.4,0.3), layer=51, texttype=0))
top.add(gdstk.Label('gnd', (0.3,-7.2), layer=49, texttype=0))
top.add(gdstk.Label('vdd', (0.3,-9.9), layer=49, texttype=0))
top.add(gdstk.Label('init', (0.3,-12.6), layer=49, texttype=0))
top.add(gdstk.Label('mcand', (152.1,363.6), layer=49, texttype=0))
top.add(gdstk.Label('mplier', (152.1,361.8), layer=49, texttype=0))
top.add(gdstk.Label('Out', (152.1,338.4), layer=49, texttype=0))
top.add(gdstk.Label('mcand', (152.1,309.6), layer=49, texttype=0))
top.add(gdstk.Label('mplier', (152.1,307.8), layer=49, texttype=0))
top.add(gdstk.Label('Out', (152.1,284.4), layer=49, texttype=0))
top.add(gdstk.Label('mcand', (152.1,255.6), layer=49, texttype=0))
top.add(gdstk.Label('mplier', (152.1,253.8), layer=49, texttype=0))
top.add(gdstk.Label('Out', (152.1,230.4), layer=49, texttype=0))
top.add(gdstk.Label('mcand', (152.1,201.6), layer=49, texttype=0))
top.add(gdstk.Label('mplier', (152.1,199.8), layer=49, texttype=0))
top.add(gdstk.Label('Out', (152.1,176.4), layer=49, texttype=0))
top.add(gdstk.Label('mcand', (152.1,147.6), layer=49, texttype=0))
top.add(gdstk.Label('mplier', (152.1,145.8), layer=49, texttype=0))
top.add(gdstk.Label('Out', (152.1,122.4), layer=49, texttype=0))
top.add(gdstk.Label('mcand', (152.1,93.6), layer=49, texttype=0))
top.add(gdstk.Label('mplier', (152.1,91.8), layer=49, texttype=0))
top.add(gdstk.Label('Out', (152.1,68.4), layer=49, texttype=0))
top.add(gdstk.Label('mcand', (152.1,39.6), layer=49, texttype=0))
top.add(gdstk.Label('mplier', (152.1,37.8), layer=49, texttype=0))
top.add(gdstk.Label('Out', (152.1,14.4), layer=49, texttype=0))
top.add(gdstk.Label('mcand_0', (152.4,417.9), layer=49, texttype=0))
top.add(gdstk.Label('mplier_0', (152.4,415.8), layer=49, texttype=0))
top.add(gdstk.Label('q_0', (152.4,392.1), layer=49, texttype=0))
top.add(gdstk.Label('mcand_1', (152.4,363.9), layer=49, texttype=0))
top.add(gdstk.Label('mplier_1', (152.4,361.8), layer=49, texttype=0))
top.add(gdstk.Label('q_1', (152.4,338.1), layer=49, texttype=0))
top.add(gdstk.Label('mcand_2', (152.4,309.9), layer=49, texttype=0))
top.add(gdstk.Label('mplier_2', (152.4,307.8), layer=49, texttype=0))
top.add(gdstk.Label('q_2', (152.4,284.1), layer=49, texttype=0))
top.add(gdstk.Label('mcand_3', (152.4,255.9), layer=49, texttype=0))
top.add(gdstk.Label('mplier_3', (152.4,253.8), layer=49, texttype=0))
top.add(gdstk.Label('q_3', (152.4,230.1), layer=49, texttype=0))
top.add(gdstk.Label('mcand_4', (152.4,201.9), layer=49, texttype=0))
top.add(gdstk.Label('mplier_4', (152.4,199.8), layer=49, texttype=0))
top.add(gdstk.Label('q_4', (152.4,176.1), layer=49, texttype=0))
top.add(gdstk.Label('mcand_5', (152.4,147.9), layer=49, texttype=0))
top.add(gdstk.Label('mplier_5', (152.4,145.8), layer=49, texttype=0))
top.add(gdstk.Label('q_5', (152.4,122.1), layer=49, texttype=0))
top.add(gdstk.Label('mcand_6', (152.4,93.9), layer=49, texttype=0))
top.add(gdstk.Label('mplier_6', (152.4,91.8), layer=49, texttype=0))
top.add(gdstk.Label('q_6', (152.4,68.1), layer=49, texttype=0))
top.add(gdstk.Label('mcand_7', (152.4,39.9), layer=49, texttype=0))
top.add(gdstk.Label('mplier_7', (152.4,37.8), layer=49, texttype=0))
top.add(gdstk.Label('q_7', (152.4,14.1), layer=49, texttype=0))
top.add(gdstk.Label('q_8', (72.3,396.9), layer=49, texttype=0))
top.add(gdstk.Label('q_9', (72.3,342.9), layer=49, texttype=0))
top.add(gdstk.Label('q_10', (72.3,288.9), layer=49, texttype=0))
top.add(gdstk.Label('q_11', (72.3,234.9), layer=49, texttype=0))
top.add(gdstk.Label('q_12', (72.3,180.9), layer=49, texttype=0))
top.add(gdstk.Label('q_13', (72.3,126.9), layer=49, texttype=0))
top.add(gdstk.Label('q_14', (72.3,72.9), layer=49, texttype=0))
top.add(gdstk.Label('q_15', (72.3,18.9), layer=49, texttype=0))

lib.write_gds('top.gds')
